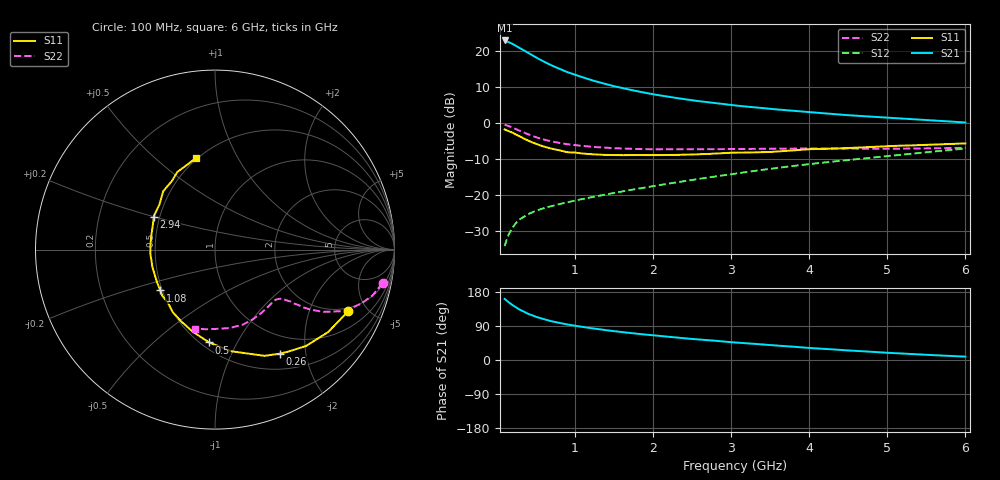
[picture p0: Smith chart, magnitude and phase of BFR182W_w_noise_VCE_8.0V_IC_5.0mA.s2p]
! Infineon Technologies  Discrete & RF Semiconductors
! BFR182W
! VCE =  8.0 V,  IC =  5.0 mA
! Common Emitter S-Parameters:  Nov 2015
# GHz  S  MA  R  50
!  f  S11  S21  S12  S22
! GHz  MAG  ANG  MAG  ANG  MAG  ANG  MAG  ANG
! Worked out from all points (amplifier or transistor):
!   192 points, 100 MHz to 6 GHz, reference 50 ohm
!   highest |S21| = 22.9 dB at 100 MHz (marker M1)
!   |S21| within 3 dB of that: start of sweep to 363.1 MHz
!   unconditionally stable (mu >= 1): 1.4 GHz to 2.977 GHz
!   at 440 MHz: K = 0.50, MSG = 21.9 dB, |S12| = -24.9 dB
!   at 1.7 GHz: K = 1.04, MAG = 12.7 dB, |S12| = -18.6 dB
!   at 6 GHz: K = 0.76, MSG = 3.6 dB, |S12| = -7.0 dB
!   lowest NFmin = 1.20 dB at 450 MHz
!   S11 on the Smith chart (normalised r, x): 100 MHz: 1.81, -3.74; 260 MHz: 0.72, -1.56; 500 MHz: 0.55, -0.78; 1.08 GHz: 0.49, -0.26; 2.94 GHz: 0.47, +0.20; 6 GHz: 0.49, +0.69
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0.1  0.8186 -24.7  13.98 161.2  0.0197 77.0  0.9521 -11.4
0.15  0.7799 -36.1  13.33 152.6  0.0282 71.9  0.9135 -16.3
0.2  0.7387 -46.6  12.56 144.9  0.0353 67.2  0.8678 -20.3
0.26  0.6832 -58.0  11.54 137.0  0.0428 63.1  0.8113 -24.2
0.3  0.6532 -65.0  10.87 132.1  0.0467 60.8  0.7766 -26.3
0.4  0.574 -80.8  9.39 121.9  0.0547 56.5  0.6978 -29.8
0.5  0.5183 -93.6  8.142 114.1  0.0609 54.4  0.6377 -31.9
0.6  0.4744 -105.0  7.137 107.8  0.0663 53.7  0.5918 -33.1
0.7  0.443 -114.9  6.308 102.3  0.0709 53.2  0.5576 -33.6
0.8  0.4205 -124.1  5.663 97.8  0.0752 53.9  0.5308 -34.3
0.9  0.396 -131.3  5.107 93.9  0.08 54.3  0.5103 -34.5
1.08  0.3809 -143.3  4.388 88.1  0.0879 55.7  0.4849 -35.4
1.1  0.3789 -144.5  4.317 87.5  0.0888 55.9  0.4824 -35.5
1.2  0.3714 -150.5  3.967 84.1  0.0934 56.7  0.4703 -35.9
1.5  0.3618 -164.8  3.248 76.1  0.1073 59.0  0.4489 -37.9
2.08  0.3606 174.0  2.429 63.5  0.1381 62.5  0.4341 -42.8
2.5  0.3671 162.3  2.069 55.5  0.163 63.9  0.4341 -47.2
2.94  0.3852 152.2  1.811 48.2  0.1914 64.4  0.4369 -53.2
3.1  0.3895 148.9  1.735 45.6  0.2028 64.4  0.4379 -55.6
4.1  0.4373 129.5  1.392 30.6  0.2777 62.0  0.4446 -71.6
5.1  0.4837 114.1  1.175 18.1  0.3588 57.4  0.4421 -89.6
6  0.5232 101.4  1.021 8.9  0.4442 52.1  0.4546 -104.4
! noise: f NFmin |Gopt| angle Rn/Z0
0.45  1.2  0.27  37  0.3
0.9  1.3  0.25  75  0.23
1.8  1.9  0.21  145  0.2
